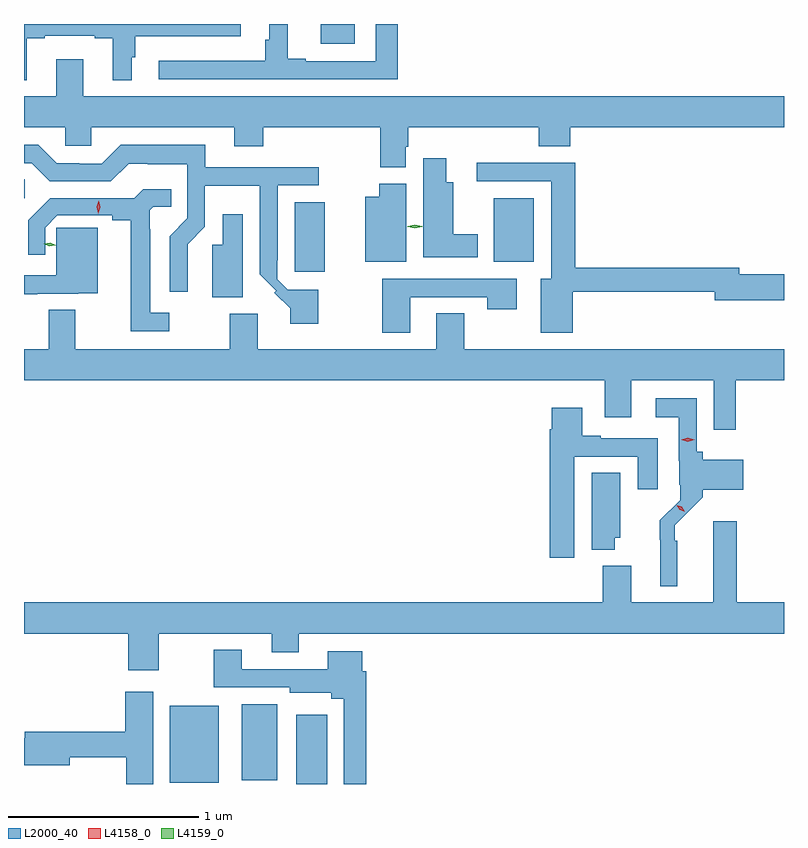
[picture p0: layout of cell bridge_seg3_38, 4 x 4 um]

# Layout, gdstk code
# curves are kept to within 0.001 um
import gdstk
lib = gdstk.Library(unit=1e-6, precision=1e-09)
def R(c, l, rs):  # rectangles x0, y0, x1, y1
    for r in rs: c.add(gdstk.rectangle(r[:2], r[2:], *l))
def P(c, l, *ps):  # polygons
    for p in ps: c.add(gdstk.Polygon(p, *l))
L2000_40 = (2000, 40)
L4158_0 = (4158, 0)
L4159_0 = (4159, 0)

bridge_seg3_38 = lib.new_cell('bridge_seg3_38')
R(bridge_seg3_38, L2000_40, [(677.516,705.452,677.677,705.817), (676.85,705.458,677.107,705.865), (677.228,705.473,677.416,705.871), (677.507,708.147,677.665,708.514), (678.554,708.2,678.766,708.535), (676.082,708.534,676.087,708.635), (677.643,709.349,677.823,709.452)])
P(bridge_seg3_38, L2000_40, [(678.05,709.452),(677.934,709.452),(677.934,709.257),(677.566,709.257),(677.566,709.27),(677.47,709.27),(677.47,709.452),(677.372,709.452),(677.372,709.368),(677.353,709.368),(677.353,709.258),(676.791,709.258),(676.791,709.161),(678.05,709.161)],
  [(676.096,709.377),(676.192,709.377),(676.192,709.389),(676.454,709.389),(676.454,709.377),(676.55,709.377),(676.55,709.157),(676.648,709.157),(676.648,709.278),(676.667,709.278),(676.667,709.388),(677.224,709.388),(677.224,709.452),(676.082,709.452),(676.082,709.157),(676.096,709.157)],
  [(678.091,708.807),(678.104,708.807),(678.104,708.908),(678.791,708.908),(678.791,708.809),(678.956,708.809),(678.956,708.908),(680.082,708.908),(680.082,709.072),(676.393,709.072),(676.393,709.267),(676.253,709.267),(676.253,709.072),(676.082,709.072),(676.082,708.908),(676.299,708.908),(676.299,708.81),(676.437,708.81),(676.437,708.908),(677.189,708.908),(677.189,708.809),(677.342,708.809),(677.342,708.908),(677.956,708.908),(677.956,708.697),(678.091,708.697)],
  [(677.631,708.054),(677.469,708.054),(677.415,708.108),(677.415,708.208),(677.418,708.208),(677.418,708.603),(677.632,708.603),(677.632,708.699),(677.035,708.699),(677.035,708.817),(676.591,708.817),(676.491,708.717),(676.374,708.717),(676.374,708.72),(676.254,708.72),(676.158,708.816),(676.082,708.816),(676.082,708.72),(676.122,708.72),(676.218,708.624),(676.539,708.624),(676.632,708.717),(676.732,708.717),(676.732,708.713),(676.941,708.713),(676.941,708.429),(676.848,708.336),(676.848,708.042),(676.944,708.042),(676.943,708.294),(677.034,708.386),(677.034,708.602),(677.322,708.602),(677.322,708.134),(677.409,708.048),(677.399,708.038),(677.483,707.955),(677.483,707.874),(677.631,707.874)],
  [(678.469,708.346),(678.34,708.346),(678.34,708.619),(678.304,708.619),(678.304,708.745),(678.182,708.745),(678.182,708.224),(678.469,708.224)],
  [(678.97,708.042),(679.718,708.042),(679.718,707.999),(680.082,707.999),(680.082,708.134),(679.846,708.134),(679.846,708.17),(678.983,708.17),(678.983,708.722),(678.465,708.722),(678.465,708.624),(678.857,708.624),(678.857,708.112),(678.803,708.112),(678.803,707.826),(678.97,707.826)],
  [(678.094,708.612),(677.953,708.612),(677.953,708.544),(677.879,708.544),(677.879,708.2),(678.094,708.2)],
  [(676.846,707.931),(676.747,707.931),(676.747,708.371),(676.743,708.371),(676.743,708.471),(676.761,708.489),(676.856,708.489),(676.856,708.581),(676.71,708.581),(676.662,708.534),(676.22,708.534),(676.104,708.418),(676.104,708.237),(676.193,708.237),(676.193,708.38),(676.258,708.446),(676.547,708.446),(676.547,708.418),(676.643,708.418),(676.643,707.835),(676.846,707.835)],
  [(677.233,708.451),(677.129,708.451),(677.129,708.291),(677.072,708.291),(677.072,708.013),(677.233,708.013)],
  [(676.153,708.033),(676.367,708.033),(676.367,708.035),(676.471,708.035),(676.471,708.379),(676.251,708.379),(676.251,708.129),(676.082,708.129),(676.082,708.029),(676.153,708.029)],
  [(678.115,708.015),(678.52,708.015),(678.52,707.952),(678.676,707.952),(678.676,708.111),(677.968,708.111),(677.968,707.826),(678.115,707.826)],
  [(679.829,707.576),(680.082,707.576),(680.082,707.74),(678.399,707.74),(678.399,707.93),(678.251,707.93),(678.251,707.74),(677.311,707.74),(677.311,707.928),(677.164,707.928),(677.164,707.74),(676.351,707.74),(676.351,707.948),(676.211,707.948),(676.211,707.74),(676.082,707.74),(676.082,707.576),(679.139,707.576),(679.139,707.382),(679.279,707.382),(679.279,707.576),(679.713,707.576),(679.713,707.316),(679.829,707.316)],
  [(679.521,706.731),(679.507,706.731),(679.507,706.814),(679.655,706.962),(679.655,707),(679.867,707),(679.867,707.158),(679.655,707.158),(679.655,707.202),(679.622,707.202),(679.622,707.482),(679.407,707.482),(679.407,707.381),(679.529,707.381),(679.53,707.027),(679.535,707.027),(679.535,706.946),(679.429,706.84),(679.43,706.493),(679.521,706.493)],
  [(678.979,707.175),(679.313,707.175),(679.313,707.004),(679.417,707.004),(679.417,707.271),(679.117,707.271),(679.117,707.284),(679.021,707.284),(679.021,707.431),(678.86,707.431),(678.86,707.318),(678.848,707.318),(678.848,706.644),(678.979,706.644)],
  [(679.192,706.749),(679.219,706.749),(679.219,707.09),(679.07,707.09),(679.07,706.685),(679.192,706.685)],
  [(676.791,706.244),(677.387,706.244),(677.387,706.145),(677.527,706.145),(677.527,706.244),(680.082,706.244),(680.082,706.408),(679.832,706.408),(679.832,706.834),(679.709,706.834),(679.709,706.408),(679.279,706.408),(679.279,706.6),(679.127,706.6),(679.127,706.408),(676.082,706.408),(676.082,706.244),(676.631,706.244),(676.631,706.05),(676.791,706.05)],
  [(677.882,706.046),(677.863,706.046),(677.863,706.15),(677.681,706.15),(677.681,706.056),(677.227,706.056),(677.227,706.159),(677.08,706.159),(677.08,705.96),(677.481,705.96),(677.481,705.932),(677.7,705.932),(677.7,705.902),(677.766,705.902),(677.766,705.452),(677.882,705.452)],
  [(676.762,705.937),(676.616,705.937),(676.616,705.728),(676.085,705.728),(676.085,705.692),(676.082,705.692),(676.082,705.55),(676.324,705.55),(676.324,705.592),(676.621,705.592),(676.621,705.452),(676.762,705.452)])
P(bridge_seg3_38, L4158_0, [(676.472,708.454),(676.472,708.455),(676.464,708.489),(676.475,708.523),(676.475,708.523),(676.475,708.523),(676.484,708.488),(676.472,708.455)],
  [(679.575,707.254),(679.54,707.264),(679.539,707.264),(679.54,707.264),(679.575,707.274),(679.611,707.265),(679.611,707.265),(679.611,707.264)],
  [(679.56,706.886),(679.532,706.895),(679.517,706.919),(679.517,706.92),(679.517,706.92),(679.545,706.911),(679.56,706.886),(679.56,706.886)])
P(bridge_seg3_38, L4159_0, [(678.139,708.376),(678.101,708.386),(678.1,708.386),(678.101,708.387),(678.139,708.396),(678.177,708.387),(678.178,708.386),(678.177,708.386)],
  [(676.216,708.282),(676.185,708.296),(676.185,708.296),(676.185,708.296),(676.219,708.302),(676.25,708.288),(676.25,708.288),(676.25,708.288)])

lib.write_gds('bridge_seg3_38.gds')
